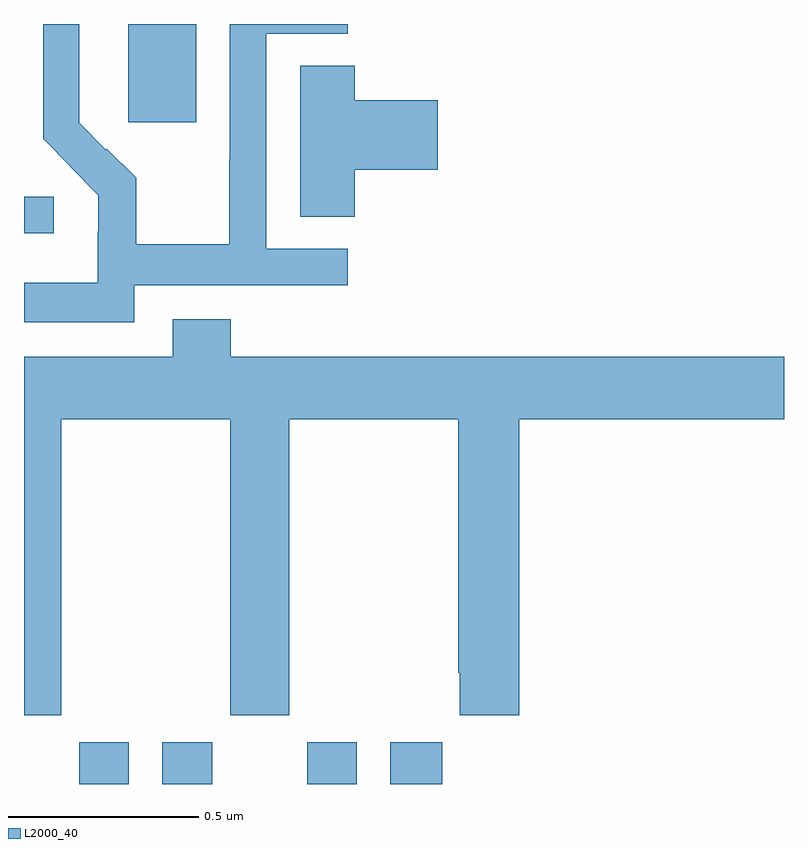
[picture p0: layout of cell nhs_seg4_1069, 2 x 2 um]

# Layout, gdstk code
import gdstk
lib = gdstk.Library(unit=1e-6, precision=1e-09)
def R(c, l, rs):  # rectangles x0, y0, x1, y1
    for r in rs: c.add(gdstk.rectangle(r[:2], r[2:], *l))
def P(c, l, *ps):  # polygons
    for p in ps: c.add(gdstk.Polygon(p, *l))
L2000_40 = (2000, 40)

nhs_seg4_1069 = lib.new_cell('nhs_seg4_1069')
R(nhs_seg4_1069, L2000_40, [(124.145,755.9,124.276,756.01), (124.364,755.9,124.495,756.01), (124.745,755.9,124.876,756.01), (124.964,755.9,125.101,756.01), (124,757.349,124.078,757.446), (124.274,757.641,124.453,757.9)])
P(nhs_seg4_1069, L2000_40, [(124.29,757.212),(124.852,757.212),(124.852,757.308),(124.638,757.308),(124.638,757.875),(124.852,757.875),(124.852,757.9),(124.542,757.9),(124.542,757.544),(124.54,757.544),(124.54,757.321),(124.295,757.321),(124.295,757.495),(124.218,757.572),(124.215,757.569),(124.145,757.64),(124.145,757.762),(124.146,757.762),(124.146,757.9),(124.05,757.9),(124.05,757.598),(124.123,757.525),(124.122,757.524),(124.196,757.45),(124.196,757.353),(124.194,757.353),(124.194,757.219),(124,757.219),(124,757.115),(124.29,757.115)],
  [(124.871,757.517),(125.089,757.517),(125.089,757.7),(124.871,757.7),(124.871,757.79),(124.727,757.79),(124.727,757.393),(124.871,757.393)],
  [(124.098,756.86),(124.543,756.86),(124.543,756.081),(124.698,756.081),(124.698,756.86),(125.143,756.86),(125.143,756.193),(125.147,756.193),(125.147,756.081),(125.303,756.081),(125.303,756.86),(126,756.86),(126,757.024),(124.544,757.024),(124.544,757.123),(124.391,757.123),(124.391,757.024),(124,757.024),(124,756.081),(124.098,756.081)])

lib.write_gds('nhs_seg4_1069.gds')
